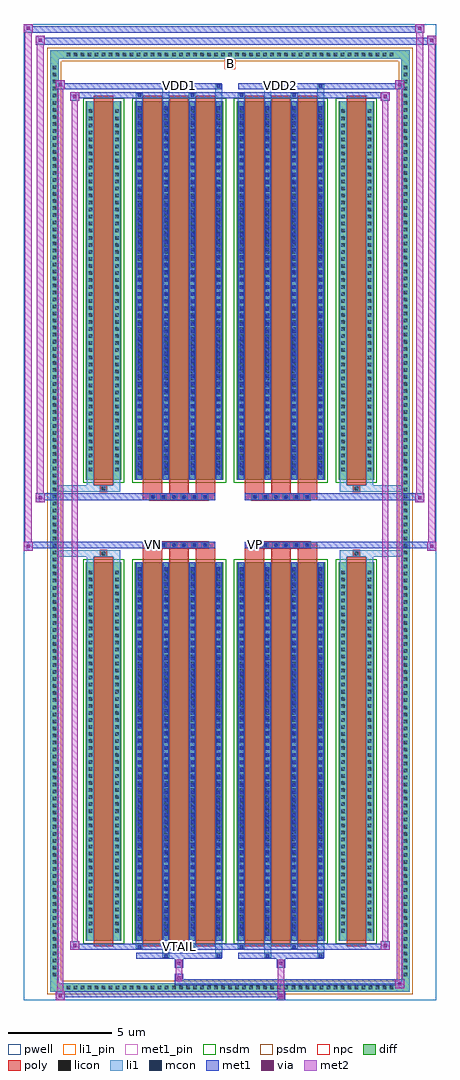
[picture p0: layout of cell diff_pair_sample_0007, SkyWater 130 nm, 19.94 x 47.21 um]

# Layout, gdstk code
import gdstk
lib = gdstk.Library(unit=1e-6, precision=5e-09)
def R(c, l, rs):  # rectangles x0, y0, x1, y1
    for r in rs: c.add(gdstk.rectangle(r[:2], r[2:], *l))
def A(c, l, x, y, w, h, nx, ny, dx, dy):  # array of equal rectangles
    R(c, l, [(x+i*dx, y+j*dy, x+i*dx+w, y+j*dy+h) for i in range(nx) for j in range(ny)])
def P(c, l, *ps):  # polygons
    for p in ps: c.add(gdstk.Polygon(p, *l))
pwell = (64, 44)
diff = (65, 20)
poly = (66, 20)
licon = (66, 44)
li1_pin = (67, 16)
li1 = (67, 20)
mcon = (67, 44)
met1_pin = (68, 16)
met1 = (68, 20)
via = (68, 44)
met2 = (69, 20)
nsdm = (93, 44)
psdm = (94, 20)
npc = (95, 20)

diff_pair_sample_0007 = lib.new_cell('diff_pair_sample_0007')
R(diff_pair_sample_0007, pwell, [(-9.97,-23.17,9.97,24.04), (-7.29,-21.36,-0.01,-0.8), (0.01,-21.36,7.29,-0.8), (-7.29,0.8,-0.01,21.36), (0.01,0.8,7.29,21.36)])
A(diff_pair_sample_0007, diff, -8.025, -22.77, 0.41, 0.41, 47, 2, 0.34, 45.13)
A(diff_pair_sample_0007, diff, -8.7, -22.135, 0.41, 0.41, 1, 130, 0, 0.34)
A(diff_pair_sample_0007, diff, 8.29, -22.135, 0.41, 0.41, 1, 130, 0, 0.34)
R(diff_pair_sample_0007, diff, [(-8.025,-22.77,8.025,-22.36), (-8.7,-22.135,-8.29,22.135), (8.29,-22.135,8.7,22.135), (-6.98,-20.315,-5.25,-1.985), (-4.61,-20.315,-0.32,-1.985), (0.32,-20.315,4.61,-1.985), (5.25,-20.315,6.98,-1.985), (-6.98,1.985,-5.25,20.315), (-4.61,1.985,-0.32,20.315), (0.32,1.985,4.61,20.315), (5.25,1.985,6.98,20.315), (-8.025,22.36,8.025,22.77)])
P(diff_pair_sample_0007, diff, [(8.7,22.77),(-8.7,22.77),(-8.7,-22.36),(-8.29,-22.36),(-8.29,22.36),(8.29,22.36),(8.29,-22.36),(-8.29,-22.36),(-8.7,-22.36),(-8.7,-22.77),(8.7,-22.77)])
A(diff_pair_sample_0007, poly, -4.22, -20.565, 0.95, 18.83, 3, 2, 1.28, 22.3)
A(diff_pair_sample_0007, poly, 0.71, -20.565, 0.95, 18.83, 3, 2, 1.28, 22.3)
A(diff_pair_sample_0007, poly, -4.22, -1.735, 0.95, 0.405, 3, 2, 1.28, 3.065)
A(diff_pair_sample_0007, poly, 0.71, -1.735, 0.95, 0.405, 3, 2, 1.28, 3.065)
A(diff_pair_sample_0007, poly, -3.88, -1.33, 0.33, 0.33, 6, 2, 0.5, 2.33)
A(diff_pair_sample_0007, poly, 1.05, -1.33, 0.33, 0.33, 6, 2, 0.5, 2.33)
R(diff_pair_sample_0007, poly, [(-6.59,-20.565,-5.64,-1.735), (5.64,-20.565,6.59,-1.735), (-6.28,-1.735,-5.95,-1.405), (-6.28,-1.735,-5.95,-1.405), (5.95,-1.735,6.28,-1.405), (5.95,-1.735,6.28,-1.405), (-4.22,-1.33,-0.71,-1), (0.71,-1.33,4.22,-1), (-4.22,1,-0.71,1.33), (0.71,1,4.22,1.33), (-6.28,1.405,-5.95,1.735), (-6.28,1.405,-5.95,1.735), (5.95,1.405,6.28,1.735), (5.95,1.405,6.28,1.735), (-6.59,1.735,-5.64,20.565), (5.64,1.735,6.59,20.565)])
A(diff_pair_sample_0007, licon, -7.905, -22.65, 0.17, 0.17, 47, 2, 0.34, 45.13)
A(diff_pair_sample_0007, licon, -8.58, -22.015, 0.17, 0.17, 1, 130, 0, 0.34)
A(diff_pair_sample_0007, licon, 8.41, -22.015, 0.17, 0.17, 1, 130, 0, 0.34)
A(diff_pair_sample_0007, licon, -6.84, -19.905, 0.17, 0.17, 1, 52, 0, 0.34)
A(diff_pair_sample_0007, licon, -5.56, -19.905, 0.17, 0.17, 1, 52, 0, 0.34)
A(diff_pair_sample_0007, licon, -4.47, -19.905, 0.17, 0.17, 4, 52, 1.28, 0.34)
A(diff_pair_sample_0007, licon, 0.46, -19.905, 0.17, 0.17, 4, 52, 1.28, 0.34)
A(diff_pair_sample_0007, licon, 5.39, -19.905, 0.17, 0.17, 1, 52, 0, 0.34)
A(diff_pair_sample_0007, licon, 6.67, -19.905, 0.17, 0.17, 1, 52, 0, 0.34)
A(diff_pair_sample_0007, licon, -3.8, -1.25, 0.17, 0.17, 6, 2, 0.5, 2.33)
A(diff_pair_sample_0007, licon, 1.13, -1.25, 0.17, 0.17, 6, 2, 0.5, 2.33)
A(diff_pair_sample_0007, licon, -6.84, 2.395, 0.17, 0.17, 1, 52, 0, 0.34)
A(diff_pair_sample_0007, licon, -5.56, 2.395, 0.17, 0.17, 1, 52, 0, 0.34)
A(diff_pair_sample_0007, licon, -4.47, 2.395, 0.17, 0.17, 4, 52, 1.28, 0.34)
A(diff_pair_sample_0007, licon, 0.46, 2.395, 0.17, 0.17, 4, 52, 1.28, 0.34)
A(diff_pair_sample_0007, licon, 5.39, 2.395, 0.17, 0.17, 1, 52, 0, 0.34)
A(diff_pair_sample_0007, licon, 6.67, 2.395, 0.17, 0.17, 1, 52, 0, 0.34)
R(diff_pair_sample_0007, licon, [(-6.2,-1.655,-6.03,-1.485), (6.03,-1.655,6.2,-1.485), (-6.2,1.485,-6.03,1.655), (6.03,1.485,6.2,1.655)])
R(diff_pair_sample_0007, li1_pin, [(-0.25,21.86,0.25,22.36)])
A(diff_pair_sample_0007, li1, -7.985, -22.73, 0.33, 0.33, 47, 2, 0.34, 45.13)
A(diff_pair_sample_0007, li1, -8.66, -22.095, 0.33, 0.33, 1, 130, 0, 0.34)
A(diff_pair_sample_0007, li1, 8.33, -22.095, 0.33, 0.33, 1, 130, 0, 0.34)
A(diff_pair_sample_0007, li1, -4.55, -20.315, 0.33, 18.33, 4, 2, 1.28, 22.3)
A(diff_pair_sample_0007, li1, 0.38, -20.315, 0.33, 18.33, 4, 2, 1.28, 22.3)
A(diff_pair_sample_0007, li1, -4.47, -20.055, 0.17, 0.17, 4, 50, 1.28, 0.36)
A(diff_pair_sample_0007, li1, -4.47, -20.055, 0.17, 17.81, 4, 2, 1.28, 22.3)
A(diff_pair_sample_0007, li1, 0.46, -20.055, 0.17, 0.17, 4, 50, 1.28, 0.36)
A(diff_pair_sample_0007, li1, 0.46, -20.055, 0.17, 17.81, 4, 2, 1.28, 22.3)
A(diff_pair_sample_0007, li1, -6.92, -19.985, 0.33, 0.33, 1, 52, 0, 0.34)
A(diff_pair_sample_0007, li1, -5.64, -19.985, 0.33, 0.33, 1, 52, 0, 0.34)
A(diff_pair_sample_0007, li1, -4.55, -19.985, 0.33, 0.33, 4, 52, 1.28, 0.34)
A(diff_pair_sample_0007, li1, 0.38, -19.985, 0.33, 0.33, 4, 52, 1.28, 0.34)
A(diff_pair_sample_0007, li1, 5.31, -19.985, 0.33, 0.33, 1, 52, 0, 0.34)
A(diff_pair_sample_0007, li1, 6.59, -19.985, 0.33, 0.33, 1, 52, 0, 0.34)
A(diff_pair_sample_0007, li1, -3.88, -1.33, 0.33, 0.33, 6, 2, 0.5, 2.33)
A(diff_pair_sample_0007, li1, 1.05, -1.33, 0.33, 0.33, 6, 2, 0.5, 2.33)
A(diff_pair_sample_0007, li1, -4.47, 2.245, 0.17, 0.17, 4, 50, 1.28, 0.36)
A(diff_pair_sample_0007, li1, 0.46, 2.245, 0.17, 0.17, 4, 50, 1.28, 0.36)
A(diff_pair_sample_0007, li1, -6.92, 2.315, 0.33, 0.33, 1, 52, 0, 0.34)
A(diff_pair_sample_0007, li1, -5.64, 2.315, 0.33, 0.33, 1, 52, 0, 0.34)
A(diff_pair_sample_0007, li1, -4.55, 2.315, 0.33, 0.33, 4, 52, 1.28, 0.34)
A(diff_pair_sample_0007, li1, 0.38, 2.315, 0.33, 0.33, 4, 52, 1.28, 0.34)
A(diff_pair_sample_0007, li1, 5.31, 2.315, 0.33, 0.33, 1, 52, 0, 0.34)
A(diff_pair_sample_0007, li1, 6.59, 2.315, 0.33, 0.33, 1, 52, 0, 0.34)
R(diff_pair_sample_0007, li1, [(-8.7,-22.77,-8.29,-22.36), (-8.7,-22.77,-8.29,-22.36), (-8.29,-22.77,8.29,-22.36), (8.29,-22.77,8.7,-22.36), (8.29,-22.77,8.7,-22.36), (-8.7,-22.36,-8.29,22.36), (8.29,-22.36,8.7,22.36), (-3.27,-21.12,-2.94,-20.315), (-3.19,-21.12,-3.02,-20.95), (-0.71,-21.12,-0.38,-20.315), (-0.63,-21.12,-0.46,-20.95), (1.66,-21.12,1.99,-20.315), (1.74,-21.12,1.91,-20.95), (4.22,-21.12,4.55,-20.315), (4.3,-21.12,4.47,-20.95), (-4.55,-20.69,-4.22,-20.315), (-4.47,-20.69,-4.3,-20.52), (-1.99,-20.69,-1.66,-20.315), (-1.91,-20.69,-1.74,-20.52), (0.38,-20.69,0.71,-20.315), (0.46,-20.69,0.63,-20.52), (2.94,-20.69,3.27,-20.315), (3.02,-20.69,3.19,-20.52), (-6.92,-20.315,-6.59,-1.985), (-5.64,-20.315,-5.31,-1.985), (5.31,-20.315,5.64,-1.985), (6.59,-20.315,6.92,-1.985), (-6.92,-1.985,-6.59,-1.405), (-5.64,-1.985,-5.31,-1.405), (5.31,-1.985,5.64,-1.405), (6.59,-1.985,6.92,-1.405), (-8.7,-1.735,-6.28,-1.405), (-6.92,-1.735,-6.28,-1.405), (-6.28,-1.735,-5.95,-1.405), (-5.95,-1.735,-5.31,-1.405), (5.31,-1.735,5.95,-1.405), (5.95,-1.735,6.28,-1.405), (5.95,-1.735,8.7,-1.405), (6.28,-1.735,6.92,-1.405), (-8.7,1.405,-6.28,1.735), (-6.92,1.405,-6.28,1.735), (-6.92,1.405,-6.59,1.985), (-6.28,1.405,-5.95,1.735), (-5.95,1.405,-5.31,1.735), (-5.64,1.405,-5.31,1.985), (5.31,1.405,5.95,1.735), (5.31,1.405,5.64,1.985), (5.95,1.405,6.28,1.735), (5.95,1.405,8.7,1.735), (6.28,1.405,6.92,1.735), (6.59,1.405,6.92,1.985), (-6.92,1.985,-6.59,20.315), (-5.64,1.985,-5.31,20.315), (5.31,1.985,5.64,20.315), (6.59,1.985,6.92,20.315), (-4.55,20.315,-4.22,20.69), (-3.27,20.315,-2.94,21.12), (-1.99,20.315,-1.66,20.69), (-0.71,20.315,-0.38,21.12), (0.38,20.315,0.71,20.69), (1.66,20.315,1.99,21.12), (2.94,20.315,3.27,20.69), (4.22,20.315,4.55,21.12), (-4.47,20.52,-4.3,20.69), (-1.91,20.52,-1.74,20.69), (0.46,20.52,0.63,20.69), (3.02,20.52,3.19,20.69), (-3.19,20.95,-3.02,21.12), (-0.63,20.95,-0.46,21.12), (1.74,20.95,1.91,21.12), (4.3,20.95,4.47,21.12), (-8.7,22.36,-8.29,22.77), (-8.7,22.36,-8.29,22.77), (-8.29,22.36,8.29,22.77), (8.29,22.36,8.7,22.77), (8.29,22.36,8.7,22.77)])
A(diff_pair_sample_0007, mcon, -4.47, -20.055, 0.17, 0.17, 4, 50, 1.28, 0.36)
A(diff_pair_sample_0007, mcon, 0.46, -20.055, 0.17, 0.17, 4, 50, 1.28, 0.36)
A(diff_pair_sample_0007, mcon, -3.8, -1.25, 0.17, 0.17, 6, 2, 0.5, 2.33)
A(diff_pair_sample_0007, mcon, 1.13, -1.25, 0.17, 0.17, 6, 2, 0.5, 2.33)
A(diff_pair_sample_0007, mcon, -4.47, 2.245, 0.17, 0.17, 4, 50, 1.28, 0.36)
A(diff_pair_sample_0007, mcon, 0.46, 2.245, 0.17, 0.17, 4, 50, 1.28, 0.36)
R(diff_pair_sample_0007, mcon, [(-3.19,-21.12,-3.02,-20.95), (-0.63,-21.12,-0.46,-20.95), (1.74,-21.12,1.91,-20.95), (4.3,-21.12,4.47,-20.95), (-4.47,-20.69,-4.3,-20.52), (-1.91,-20.69,-1.74,-20.52), (0.46,-20.69,0.63,-20.52), (3.02,-20.69,3.19,-20.52), (-4.47,20.52,-4.3,20.69), (-1.91,20.52,-1.74,20.69), (0.46,20.52,0.63,20.69), (3.02,20.52,3.19,20.69), (-3.19,20.95,-3.02,21.12), (-0.63,20.95,-0.46,21.12), (1.74,20.95,1.91,21.12), (4.3,20.95,4.47,21.12)])
R(diff_pair_sample_0007, met1_pin, [(-2.6,-20.73,-2.33,-20.46), (-3.85,-1.29,-3.58,-1.02), (1.08,-1.29,1.35,-1.02), (-2.6,20.91,-2.33,21.18), (2.33,20.91,2.6,21.18)])
A(diff_pair_sample_0007, met1, -4.53, -20.315, 0.29, 18.33, 4, 2, 1.28, 22.3)
A(diff_pair_sample_0007, met1, 0.4, -20.315, 0.29, 18.33, 4, 2, 1.28, 22.3)
A(diff_pair_sample_0007, met1, -4.53, -20.115, 0.29, 0.29, 4, 50, 1.28, 0.36)
A(diff_pair_sample_0007, met1, 0.4, -20.115, 0.29, 0.29, 4, 50, 1.28, 0.36)
A(diff_pair_sample_0007, met1, -3.86, -1.31, 0.29, 0.29, 6, 2, 0.5, 2.33)
A(diff_pair_sample_0007, met1, 1.07, -1.31, 0.29, 0.29, 6, 2, 0.5, 2.33)
A(diff_pair_sample_0007, met1, -4.53, 2.185, 0.29, 0.29, 4, 50, 1.28, 0.36)
A(diff_pair_sample_0007, met1, 0.4, 2.185, 0.29, 0.29, 4, 50, 1.28, 0.36)
R(diff_pair_sample_0007, met1, [(-8.43,-23.17,-8,-22.74), (2.25,-23.17,2.68,-22.74), (-8.43,-23.03,2.68,-22.74), (8,-22.6,8.43,-22.17), (-2.68,-22.46,8.43,-22.17), (-2.68,-22.32,-2.25,-21.89), (-2.68,-21.61,-2.25,-21.18), (2.25,-21.61,2.68,-21.18), (-4.53,-21.18,-0.4,-20.89), (-3.25,-21.18,-2.96,-20.89), (-0.69,-21.18,-0.4,-20.89), (0.4,-21.18,4.53,-20.89), (1.68,-21.18,1.97,-20.89), (4.24,-21.18,4.53,-20.89), (-7.72,-20.75,-7.29,-20.32), (-7.72,-20.75,-4.53,-20.46), (-4.53,-20.75,-4.24,-20.46), (-4.53,-20.75,-0.4,-20.46), (-1.97,-20.75,-1.68,-20.46), (-0.4,-20.75,0.4,-20.46), (0.4,-20.75,0.69,-20.46), (0.4,-20.75,4.53,-20.46), (2.96,-20.75,3.25,-20.46), (4.53,-20.75,7.72,-20.46), (7.29,-20.75,7.72,-20.32), (-9.97,-1.43,-9.54,-1), (9.54,-1.43,9.97,-1), (-9.97,-1.33,-0.71,-1), (-4.22,-1.33,-0.71,-1), (0.71,-1.33,4.22,-1), (0.71,-1.33,9.97,-1), (-9.4,0.9,-8.97,1.33), (8.97,0.9,9.4,1.33), (-9.4,1,-4.22,1.33), (-4.22,1,-0.71,1.33), (0.71,1,4.22,1.33), (4.22,1,9.4,1.33), (-7.72,20.32,-7.29,20.75), (7.29,20.32,7.72,20.75), (-7.72,20.46,-4.53,20.75), (-4.53,20.46,-4.24,20.75), (-4.53,20.46,-0.4,20.75), (-1.97,20.46,-1.68,20.75), (-0.4,20.46,0.4,20.75), (0.4,20.46,0.69,20.75), (0.4,20.46,4.53,20.75), (2.96,20.46,3.25,20.75), (4.53,20.46,7.72,20.75), (-8.43,20.89,-8,21.32), (-8.43,20.89,-4.53,21.18), (-4.53,20.89,-0.4,21.18), (-3.25,20.89,-2.96,21.18), (-0.69,20.89,-0.4,21.18), (0.4,20.89,4.53,21.18), (1.68,20.89,1.97,21.18), (4.24,20.89,4.53,21.18), (4.53,20.89,8.43,21.18), (8,20.89,8.43,21.32), (-9.4,23.04,-8.97,23.47), (-9.4,23.04,-7.29,23.37), (-7.29,23.04,7.29,23.37), (7.29,23.04,9.97,23.37), (9.54,23.04,9.97,23.47), (-9.97,23.61,-9.54,24.04), (-9.97,23.61,-7.29,23.94), (-7.29,23.61,7.29,23.94), (7.29,23.61,9.4,23.94), (8.97,23.61,9.4,24.04)])
R(diff_pair_sample_0007, via, [(-8.29,-23.03,-8.14,-22.88), (2.39,-23.03,2.54,-22.88), (8.14,-22.46,8.29,-22.31), (-2.54,-22.18,-2.39,-22.03), (-2.54,-21.47,-2.39,-21.32), (2.39,-21.47,2.54,-21.32), (-7.58,-20.61,-7.43,-20.46), (7.43,-20.61,7.58,-20.46), (-9.83,-1.29,-9.68,-1.14), (9.68,-1.29,9.83,-1.14), (-9.26,1.04,-9.11,1.19), (9.11,1.04,9.26,1.19), (-7.58,20.46,-7.43,20.61), (7.43,20.46,7.58,20.61), (-8.29,21.03,-8.14,21.18), (8.14,21.03,8.29,21.18), (-9.26,23.18,-9.11,23.33), (9.68,23.18,9.83,23.33), (-9.83,23.75,-9.68,23.9), (9.11,23.75,9.26,23.9)])
R(diff_pair_sample_0007, met2, [(-8.43,-23.17,-8,-22.74), (-8.36,-23.17,-8.07,21.32), (-8.07,-23.17,-8,-22.74), (-8.38,-23.12,-8.05,-22.79), (2.3,-23.12,2.63,-22.79), (2.3,-22.79,2.63,-21.56), (8,-22.6,8.43,-22.17), (8.07,-22.6,8.36,21.32), (8.36,-22.6,8.43,-22.17), (8.05,-22.55,8.38,-22.22), (-2.63,-22.27,-2.3,-21.94), (-2.63,-21.94,-2.3,-21.56), (-2.63,-21.56,-2.3,-21.23), (2.3,-21.56,2.63,-21.23), (-7.72,-20.75,-7.29,-20.32), (-7.65,-20.75,-7.36,20.75), (-7.36,-20.75,-7.29,-20.32), (7.29,-20.75,7.72,-20.32), (7.36,-20.75,7.65,20.75), (7.65,-20.75,7.72,-20.32), (-7.67,-20.7,-7.34,-20.37), (7.34,-20.7,7.67,-20.37), (-9.97,-1.43,-9.54,-1), (-9.92,-1.43,-9.59,24.04), (-9.59,-1.43,-9.54,-1), (9.54,-1.43,9.97,-1), (9.59,-1.43,9.92,23.47), (9.92,-1.43,9.97,-1), (-9.92,-1.38,-9.59,-1.05), (9.59,-1.38,9.92,-1.05), (-9.4,0.9,-8.97,1.33), (-9.35,0.9,-9.02,23.47), (-9.02,0.9,-8.97,1.33), (8.97,0.9,9.4,1.33), (9.02,0.9,9.35,24.04), (9.35,0.9,9.4,1.33), (-9.35,0.95,-9.02,1.28), (9.02,0.95,9.35,1.28), (-7.72,20.32,-7.29,20.75), (-7.36,20.32,-7.29,20.75), (7.29,20.32,7.72,20.75), (7.65,20.32,7.72,20.75), (-7.67,20.37,-7.34,20.7), (7.34,20.37,7.67,20.7), (-8.43,20.89,-8,21.32), (-8.07,20.89,-8,21.32), (8,20.89,8.43,21.32), (8.36,20.89,8.43,21.32), (-8.38,20.94,-8.05,21.27), (8.05,20.94,8.38,21.27), (-9.4,23.04,-8.97,23.47), (-9.02,23.04,-8.97,23.47), (9.54,23.04,9.97,23.47), (9.92,23.04,9.97,23.47), (-9.35,23.09,-9.02,23.42), (9.59,23.09,9.92,23.42), (-9.97,23.61,-9.54,24.04), (-9.59,23.61,-9.54,24.04), (8.97,23.61,9.4,24.04), (9.35,23.61,9.4,24.04), (-9.92,23.66,-9.59,23.99), (9.02,23.66,9.35,23.99)])
R(diff_pair_sample_0007, nsdm, [(-7.11,-20.445,-5.12,-1.855), (-4.74,-20.445,-0.19,-1.855), (0.19,-20.445,4.74,-1.855), (5.12,-20.445,7.11,-1.855), (-7.11,1.855,-5.12,20.445), (-4.74,1.855,-0.19,20.445), (0.19,1.855,4.74,20.445), (5.12,1.855,7.11,20.445)])
P(diff_pair_sample_0007, psdm, [(8.83,22.9),(-8.83,22.9),(-8.83,-22.23),(-8.16,-22.23),(-8.16,22.23),(8.16,22.23),(8.16,-22.23),(-8.16,-22.23),(-8.83,-22.23),(-8.83,-22.9),(8.83,-22.9)])
A(diff_pair_sample_0007, npc, -3.9, -1.35, 0.37, 0.37, 6, 2, 0.5, 2.33)
A(diff_pair_sample_0007, npc, 1.03, -1.35, 0.37, 0.37, 6, 2, 0.5, 2.33)
R(diff_pair_sample_0007, npc, [(-6.3,-1.755,-5.93,-1.385), (5.93,-1.755,6.3,-1.385), (-3.9,-1.35,-3.03,-0.98), (-3.9,-1.35,-3.03,-0.98), (-3.4,-1.35,-2.53,-0.98), (-3.4,-1.35,-2.53,-0.98), (-2.9,-1.35,-2.03,-0.98), (-2.9,-1.35,-2.03,-0.98), (-2.4,-1.35,-1.53,-0.98), (-2.4,-1.35,-1.53,-0.98), (-1.9,-1.35,-1.03,-0.98), (-1.9,-1.35,-1.03,-0.98), (1.03,-1.35,1.9,-0.98), (1.03,-1.35,1.9,-0.98), (1.53,-1.35,2.4,-0.98), (1.53,-1.35,2.4,-0.98), (2.03,-1.35,2.9,-0.98), (2.03,-1.35,2.9,-0.98), (2.53,-1.35,3.4,-0.98), (2.53,-1.35,3.4,-0.98), (3.03,-1.35,3.9,-0.98), (3.03,-1.35,3.9,-0.98), (-3.9,0.98,-3.03,1.35), (-3.9,0.98,-3.03,1.35), (-3.4,0.98,-2.53,1.35), (-3.4,0.98,-2.53,1.35), (-2.9,0.98,-2.03,1.35), (-2.9,0.98,-2.03,1.35), (-2.4,0.98,-1.53,1.35), (-2.4,0.98,-1.53,1.35), (-1.9,0.98,-1.03,1.35), (-1.9,0.98,-1.03,1.35), (1.03,0.98,1.9,1.35), (1.03,0.98,1.9,1.35), (1.53,0.98,2.4,1.35), (1.53,0.98,2.4,1.35), (2.03,0.98,2.9,1.35), (2.03,0.98,2.9,1.35), (2.53,0.98,3.4,1.35), (2.53,0.98,3.4,1.35), (3.03,0.98,3.9,1.35), (3.03,0.98,3.9,1.35), (-6.3,1.385,-5.93,1.755), (5.93,1.385,6.3,1.755)])
diff_pair_sample_0007.add(gdstk.Label('VTAIL', (-2.465,-20.595), layer=68, texttype=5))
diff_pair_sample_0007.add(gdstk.Label('VN', (-3.715,-1.155), layer=68, texttype=5))
diff_pair_sample_0007.add(gdstk.Label('VP', (1.215,-1.155), layer=68, texttype=5))
diff_pair_sample_0007.add(gdstk.Label('B', (0,22.11), layer=67, texttype=5))
diff_pair_sample_0007.add(gdstk.Label('VDD2', (2.465,21.045), layer=68, texttype=5))
diff_pair_sample_0007.add(gdstk.Label('VDD1', (-2.465,21.045), layer=68, texttype=5))

lib.write_gds('diff_pair_sample_0007.gds')
